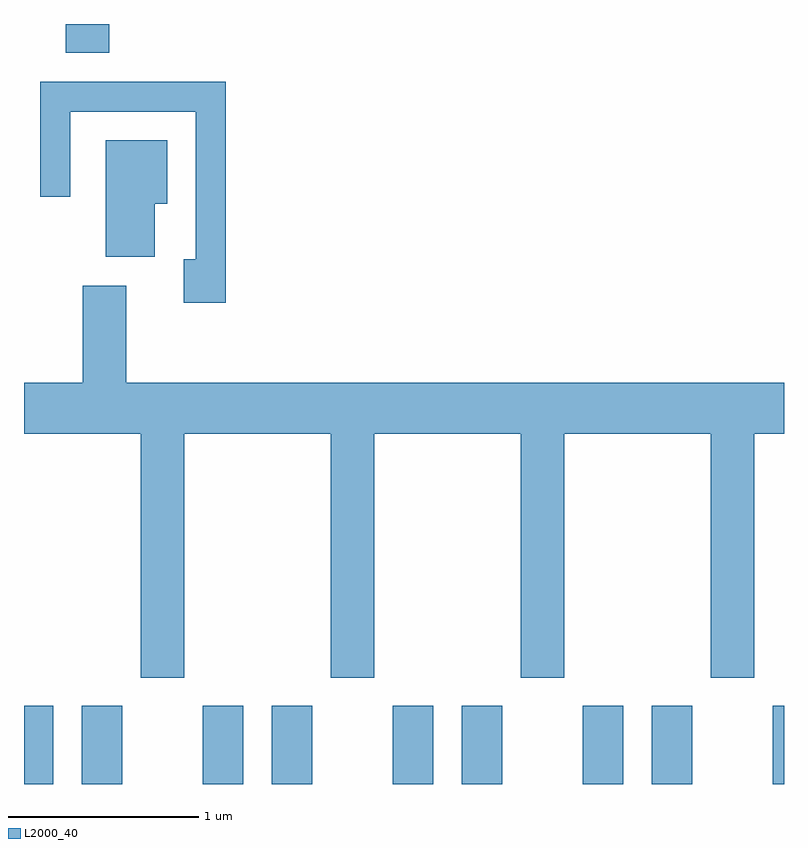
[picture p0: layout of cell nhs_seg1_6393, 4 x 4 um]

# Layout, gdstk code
import gdstk
lib = gdstk.Library(unit=1e-6, precision=1e-09)
def R(c, l, rs):  # rectangles x0, y0, x1, y1
    for r in rs: c.add(gdstk.rectangle(r[:2], r[2:], *l))
def P(c, l, *ps):  # polygons
    for p in ps: c.add(gdstk.Polygon(p, *l))
L2000_40 = (2000, 40)

nhs_seg1_6393 = lib.new_cell('nhs_seg1_6393')
R(nhs_seg1_6393, L2000_40, [(377.611,917.712,377.764,918.124), (377.916,917.712,378.129,918.124), (378.551,917.712,378.764,918.124), (378.916,917.712,379.129,918.124), (379.551,917.712,379.764,918.124), (379.916,917.712,380.129,918.124), (380.551,917.712,380.764,918.124), (380.916,917.712,381.129,918.124), (381.551,917.712,381.611,918.124), (377.831,921.561,378.059,921.712)])
P(nhs_seg1_6393, L2000_40, [(378.674,921.409),(377.696,921.409),(377.696,920.803),(377.854,920.803),(377.854,921.251),(378.516,921.251),(378.516,920.474),(378.451,920.474),(378.451,920.246),(378.674,920.246)],
  [(378.299,920.766),(378.364,920.766),(378.364,921.099),(378.041,921.099),(378.041,920.486),(378.299,920.486)],
  [(378.454,919.556),(379.226,919.556),(379.226,918.271),(379.454,918.271),(379.454,919.556),(380.226,919.556),(380.226,918.271),(380.454,918.271),(380.454,919.556),(381.226,919.556),(381.226,918.271),(381.454,918.271),(381.454,919.556),(381.611,919.556),(381.611,919.824),(378.149,919.824),(378.149,920.334),(377.921,920.334),(377.921,919.824),(377.611,919.824),(377.611,919.556),(378.226,919.556),(378.226,918.271),(378.454,918.271)])

lib.write_gds('nhs_seg1_6393.gds')
